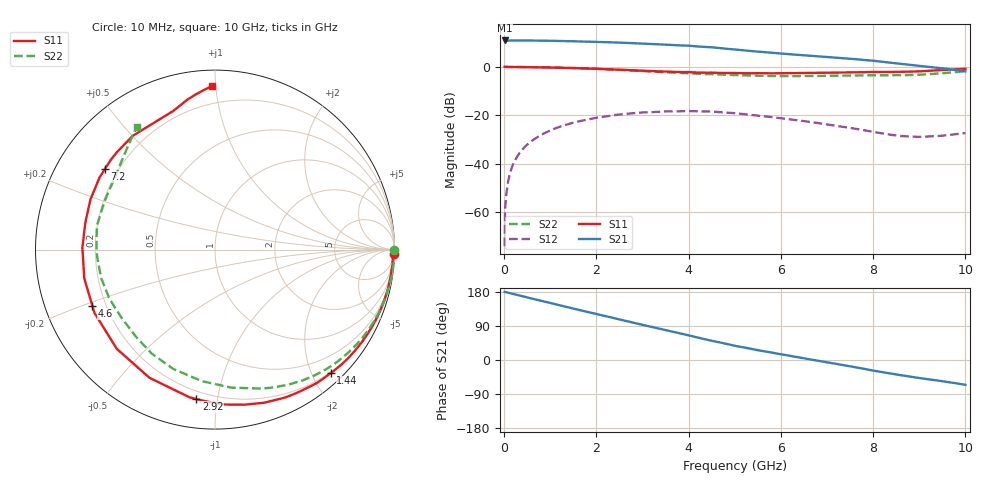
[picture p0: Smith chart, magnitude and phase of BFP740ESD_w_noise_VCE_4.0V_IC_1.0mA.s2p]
! Infineon Technologies  Discrete & RF Semiconductors
! BFP740ESD
! VCE =  4.0 V,  IC =  1.0 mA
! Common Emitter S-Parameters:  Jan 2016
# GHz  S  MA  R  50
!  f  S11  S21  S12  S22
! GHz  MAG  ANG  MAG  ANG  MAG  ANG  MAG  ANG
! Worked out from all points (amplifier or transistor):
!   233 points, 10 MHz to 10 GHz, reference 50 ohm
!   highest |S21| = 10.9 dB at 10 MHz (marker M1)
!   |S21| within 3 dB of that: start of sweep to 4.59 GHz
!   unconditionally stable (mu >= 1): 7.388 GHz to 9.67 GHz
!   at 200 MHz: K = 0.03, MSG = 25.4 dB, |S12| = -39.9 dB
!   at 1.74 GHz: K = 0.15, MSG = 16.2 dB, |S12| = -22.0 dB
!   at 10 GHz: K = 0.50, MSG = 12.7 dB, |S12| = -27.3 dB
!   lowest NFmin = 0.56 dB at 450 MHz
!   S11 on the Smith chart (normalised r, x): 10 MHz: 0, -76; 1.44 GHz: 0.18, -2.29; 2.92 GHz: 0.16, -0.87; 4.6 GHz: 0.15, -0.21; 7.2 GHz: 0.15, +0.32; 10 GHz: 0.09, +0.98
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0.01  1 -1.5  3.497 179.7  0.0002 -7.2  0.9974 0.0
0.015  0.9971 -1.2  3.471 179.7  0.0006 75.3  0.9983 -0.3
0.02  0.9943 -0.8  3.445 179.7  0.0011 85.7  0.9993 -0.5
0.045  0.992 -1.5  3.455 178.6  0.0023 82.9  0.999 -1.1
0.11  0.9919 -3.5  3.485 176.9  0.0055 86.4  0.9987 -2.5
0.22  0.9904 -7.0  3.488 173.5  0.0111 83.6  0.9975 -5.1
0.64  0.9803 -20.6  3.481 161.0  0.0317 73.2  0.9872 -15.0
1  0.9668 -32.3  3.446 150.5  0.0488 64.1  0.9733 -23.4
1.44  0.9433 -46.9  3.375 137.4  0.068 52.6  0.9486 -33.9
1.68  0.9294 -54.9  3.332 130.5  0.0773 46.5  0.9329 -39.5
2.4  0.8802 -79.0  3.186 110.0  0.1013 28.8  0.8764 -56.4
2.92  0.8388 -97.1  3.043 95.1  0.1129 15.6  0.8252 -69.2
3.4  0.8026 -113.6  2.893 81.7  0.1187 4.1  0.7805 -80.7
4  0.7779 -134.7  2.729 65.0  0.1224 -9.6  0.7366 -95.7
4.6  0.7517 -155.3  2.47 48.2  0.1176 -23.4  0.6968 -111.5
5.1  0.7413 -170.2  2.232 35.4  0.1082 -33.7  0.6718 -123.4
6  0.7381 168.1  1.881 15.1  0.0871 -47.7  0.6446 -143.7
6.8  0.7515 152.0  1.643 -1.8  0.0693 -54.5  0.6491 -161.8
7.2  0.7601 143.7  1.541 -10.2  0.0609 -56.3  0.6534 -171.1
8  0.7823 125.8  1.335 -28.0  0.0455 -55.2  0.6714 168.6
8.4  0.7822 117.5  1.208 -36.1  0.0394 -49.3  0.6697 158.7
10  0.9117 91.1  0.804 -65.6  0.0431 -19.5  0.8108 122.5
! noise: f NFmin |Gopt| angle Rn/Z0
0.45  0.56  0.79  8  0.39
0.9  0.61  0.78  20  0.38
1.9  0.75  0.68  46  0.32
2.4  0.9  0.65  62  0.33
5.5  1.73  0.49  162  0.1
